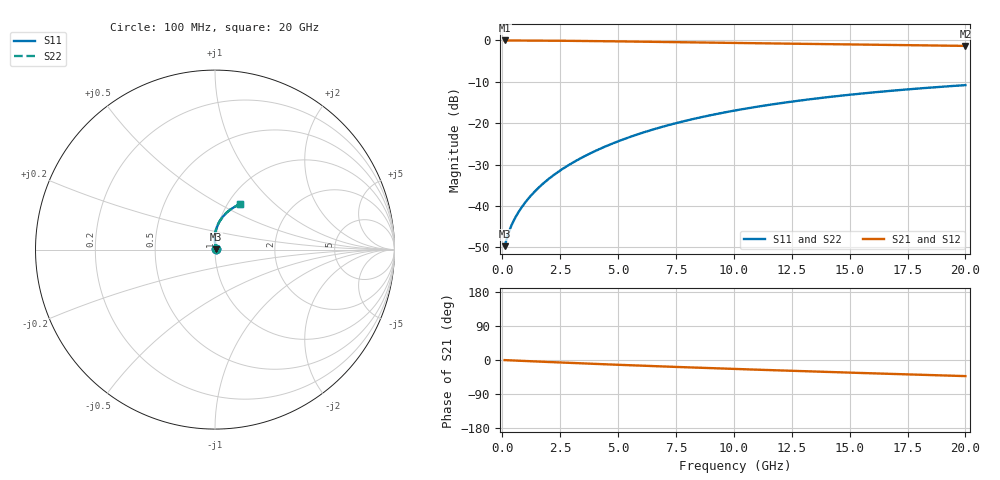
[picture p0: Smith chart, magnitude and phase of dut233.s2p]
! Touchstone file exported from HFSS 2024.1.0
!  File:  C:/UserFiles/LocalFiles/RDL_TSV_Batchsim/temp_RDL_bottom_233_1778700964.aedt
!  Generated:  03:38:33 AM May 14, 2026
!  Design:  RDL_bottom
!  Project:  temp_RDL_bottom_233_1778700964
!  Setup:  Setup1
!  Solution:  Sweep
! Variables:
!  dtsv = 10.80580581um
!  hbump = 3um
!  htsv = 65.36um
!  ldown = 669.59um
!  lrdl = 100um
!  p = 40
!  p1 = 46.22um
!  rhole = 1um
!  t = 450um
!  tdown = 3.08um
!  trdl = 3.915915916um
!  wdown = 28.7um
!  wrdl = 20um
# GHz S MA R 50.000000
! Terminal data exported
! Port[1] = RDL1_T1
! Port[2] = RDL1_T2
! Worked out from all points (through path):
!   200 points, 100 MHz to 20 GHz, reference 50 ohm
!   highest |S21| = -0.03 dB at 100 MHz (marker M1); lowest = -1.3 dB at 20 GHz (marker M2)
!   group delay of S21, straight-line fit = 5.82 ps
!   lowest |S11| = -49.7 dB at 100 MHz (marker M3), VSWR 1.01, Z = 50.3 + j0.135 ohm
!   |S11| at or under -10 dB: start of sweep to end of sweep
!   |S22| runs from -49.7 to -10.8 dB; largest |S21 - S12| = 3.8e-15
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0.1  0.003275 24.3  0.997 -0.3  0.997 -0.3  0.003275 24.3
! Gamma 0 0 0 0
! Port Impedance 50 0 50 0
0.2  0.004099 38.8  0.9967 -0.6  0.9967 -0.6  0.004098 38.8
0.3  0.004998 47.1  0.9964 -0.8  0.9964 -0.8  0.004998 47.1
0.4  0.005873 52.7  0.9962 -1.1  0.9962 -1.1  0.005872 52.7
0.5  0.006726 57.0  0.9959 -1.4  0.9959 -1.4  0.006726 57.0
0.6  0.007577 60.7  0.9957 -1.6  0.9957 -1.6  0.007576 60.7
0.8  0.009314 66.6  0.9952 -2.1  0.9952 -2.1  0.009313 66.6
1.2  0.013 74.6  0.9941 -3.2  0.9941 -3.2  0.013 74.7
1.7  0.01801 80.8  0.9925 -4.5  0.9925 -4.5  0.01801 80.9
2.2  0.02341 84.8  0.9903 -5.8  0.9903 -5.8  0.02341 84.8
2.8  0.0304 87.8  0.9872 -7.3  0.9872 -7.3  0.03041 87.9
3.5  0.03923 89.9  0.9829 -9.1  0.9829 -9.1  0.03925 90.0
4.2  0.04875 90.9  0.978 -10.8  0.978 -10.8  0.04879 91.0
5  0.06037 91.2  0.9719 -12.7  0.9719 -12.7  0.06042 91.3
5.9  0.07418 90.6  0.9647 -14.7  0.9647 -14.7  0.07427 90.7
6.8  0.08857 89.5  0.9573 -16.8  0.9573 -16.8  0.08868 89.6
8.4  0.1149 86.6  0.9439 -20.2  0.9439 -20.2  0.1151 86.7
10.1  0.1432 83.0  0.9301 -23.7  0.9301 -23.7  0.1434 83.0
11.7  0.1693 79.3  0.9174 -26.9  0.9174 -26.9  0.1695 79.4
13.4  0.1962 75.4  0.9044 -30.3  0.9044 -30.3  0.1965 75.5
16.7  0.2448 68.0  0.8802 -36.5  0.8802 -36.5  0.2452 68.1
20  0.2881 61.1  0.8571 -42.5  0.8571 -42.5  0.2886 61.2
